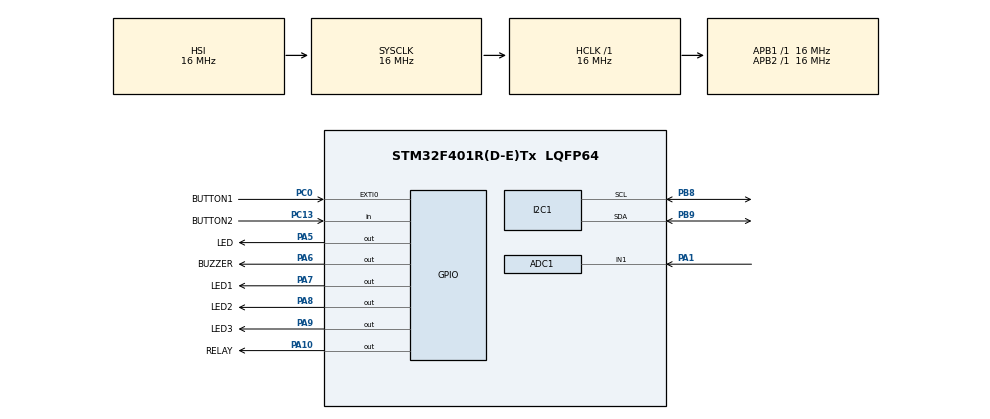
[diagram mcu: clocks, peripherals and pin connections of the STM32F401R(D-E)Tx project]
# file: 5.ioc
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ADC1.Channel-2\#ChannelRegularConversion=ADC_CHANNEL_1
ADC1.NbrOfConversionFlag=1
ADC1.Rank-2\#ChannelRegularConversion=1
ADC1.SamplingTime-2\#ChannelRegularConversion=ADC_SAMPLETIME_3CYCLES
ADC1.master=1
Mcu.Family=STM32F4
Mcu.Name=STM32F401R(D-E)Tx
Mcu.Package=LQFP64
NVIC.ADC_IRQn=true\:0\:0\:false\:false\:true\:true\:true
NVIC.EXTI0_IRQn=true\:1\:0\:true\:false\:true\:true\:true
NVIC.PriorityGroup=NVIC_PRIORITYGROUP_4
PA1.Signal=ADCx_IN1
PA10.GPIO_Label=RELAY
PA10.Signal=GPIO_Output
PA13.Mode=Serial_Wire
PA13.Signal=SYS_JTMS-SWDIO
PA14.Mode=Serial_Wire
PA14.Signal=SYS_JTCK-SWCLK
PA5.GPIO_Label=LED
PA5.Signal=GPIO_Output
PA6.GPIO_Label=BUZZER
PA6.Signal=GPIO_Output
PA7.GPIO_Label=LED1
PA7.Signal=GPIO_Output
PA8.GPIO_Label=LED2
PA8.Signal=GPIO_Output
PA9.GPIO_Label=LED3
PA9.Signal=GPIO_Output
PB8.Mode=I2C
PB8.Signal=I2C1_SCL
PB9.Mode=I2C
PB9.Signal=I2C1_SDA
PC0.GPIO_Label=BUTTON1
PC0.GPIO_PuPd=GPIO_PULLUP
PC0.Signal=GPXTI0
PC13-ANTI_TAMP.GPIO_Label=BUTTON2
PC13-ANTI_TAMP.Signal=GPIO_Input
PH0\ -\ OSC_IN.Mode=HSE-External-Oscillator
PH0\ -\ OSC_IN.Signal=RCC_OSC_IN
PH1\ -\ OSC_OUT.Mode=HSE-External-Oscillator
PH1\ -\ OSC_OUT.Signal=RCC_OSC_OUT
ProjectManager.HeapSize=0x200
ProjectManager.StackSize=0x400
ProjectManager.TargetToolchain=STM32CubeIDE
RCC.AHBFreq_Value=16000000
RCC.APB1Freq_Value=16000000
RCC.APB2Freq_Value=16000000
RCC.CortexFreq_Value=16000000
RCC.HSE_VALUE=25000000
RCC.HSI_VALUE=16000000
RCC.LSE_VALUE=32768
RCC.SYSCLKFreq_VALUE=16000000
RCC.VCOOutputFreq_Value=192000000
SH.ADCx_IN1.0=ADC1_IN1,IN1
board=custom

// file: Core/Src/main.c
/* USER CODE BEGIN Header */
/**
  ******************************************************************************
  *
  * @file           : main.c
  * @brief          : Main program body
  *
  ******************************************************************************
  *
  * PROJECT: HE THONG CANH BAO SU DUNG STM32 F401RE
  * Chu tri du an: TRAN NGUYEN PHUC
  * Thuc hien: TRAN NGUYEN PHUC - VO THỊ HONG ANH - PHAM DANG KIEU OANH
  *
  ******************************************************************************
  */
/* USER CODE END Header */
#include "main.h"
/* USER CODE BEGIN Includes */
#include "stdio.h"
#include "string.h"
#include "math.h"
#include "stdbool.h"

#include "i2c-lcd.h"
/* USER CODE END Includes */

ADC_HandleTypeDef hadc1;

I2C_HandleTypeDef hi2c1;

/* USER CODE BEGIN PV */
//uint16_t data[3];
uint32_t temp = 0;
uint32_t temp_val = 0;
uint32_t button1_val;
uint8_t status;
char tempVal[20];
/* USER CODE END PV */

void SystemClock_Config(void);
static void MX_GPIO_Init(void);
static void MX_ADC1_Init(void);
static void MX_I2C1_Init(void);

/* USER CODE BEGIN 0 */
uint32_t MAP(uint32_t au32_IN, uint32_t au32_INmin, uint32_t au32_INmax, uint32_t au32_OUTmin, uint32_t au32_OUTmax)
{
	return((((au32_IN - au32_INmin)*au32_OUTmax - au32_OUTmin)/(au32_INmax - au32_INmin)) + au32_OUTmin);
}

//void ADC_Select_CH0 (void)
//{
//	ADC_ChannelConfTypeDef sConfig = {0};
//	  /** Configure for the selected ADC regular channel its corresponding rank in the sequencer and its sample time.
//	  */
//	  sConfig.Channel = ADC_CHANNEL_0;
//	  sConfig.Rank = 1;
//	  sConfig.SamplingTime = ADC_SAMPLETIME_144CYCLES;
//	  if (HAL_ADC_ConfigChannel(&hadc1, &sConfig) != HAL_OK)
//	  {
//	    Error_Handler();
//	  }
//}

void conguoi ()
{
	HAL_GPIO_WritePin(LED2_GPIO_Port, LED2_Pin, 1);
	HAL_GPIO_WritePin(BUZZER_GPIO_Port, BUZZER_Pin, 1);
	HAL_Delay(500);
  	HAL_GPIO_WritePin(LED2_GPIO_Port, LED2_Pin, 0);
  	HAL_GPIO_WritePin(BUZZER_GPIO_Port, BUZZER_Pin, 0);
  	HAL_Delay(500);
	HAL_GPIO_WritePin(LED2_GPIO_Port, LED2_Pin, 1);
	HAL_GPIO_WritePin(BUZZER_GPIO_Port, BUZZER_Pin, 1);
	HAL_Delay(500);
  	HAL_GPIO_WritePin(LED2_GPIO_Port, LED2_Pin, 0);
  	HAL_GPIO_WritePin(BUZZER_GPIO_Port, BUZZER_Pin, 0);
	HAL_Delay(500);
	HAL_GPIO_WritePin(LED2_GPIO_Port, LED2_Pin, 1);
	HAL_GPIO_WritePin(BUZZER_GPIO_Port, BUZZER_Pin, 1);
	HAL_Delay(500);
  	HAL_GPIO_WritePin(LED2_GPIO_Port, LED2_Pin, 0);
  	HAL_GPIO_WritePin(BUZZER_GPIO_Port, BUZZER_Pin, 0);
	HAL_Delay(500);
	HAL_GPIO_WritePin(LED2_GPIO_Port, LED2_Pin, 1);
	HAL_GPIO_WritePin(BUZZER_GPIO_Port, BUZZER_Pin, 1);
	HAL_Delay(500);
  	HAL_GPIO_WritePin(LED2_GPIO_Port, LED2_Pin, 0);
  	HAL_GPIO_WritePin(BUZZER_GPIO_Port, BUZZER_Pin, 0);
	HAL_Delay(500);
}
/* USER CODE END 0 */

int main(void)
{

  /* MCU Configuration--------------------------------------------------------*/

  /* Reset of all peripherals, Initializes the Flash interface and the Systick. */
  HAL_Init();

  /* Configure the system clock */
  SystemClock_Config();

  /* Initialize all configured peripherals */
  MX_GPIO_Init();
  MX_ADC1_Init();
  MX_I2C1_Init();
  /* USER CODE BEGIN 2 */
  lcd_init();

  lcd_goto_XY(1,2);
  lcd_send_string("DO AN NHOM 2");
  lcd_goto_XY(2,1);
  lcd_send_string("THUC TAP CO SO");
  HAL_Delay(3000);
  lcd_clear_display();

  /* USER CODE END 2 */

  /* Infinite loop */
  while (1)
  {

    /* USER CODE BEGIN 3 */
	  /* -------------------- ADC LM35 --------------------*/
	  HAL_ADC_Start(&hadc1);
	  HAL_ADC_PollForConversion(&hadc1,500);
	  temp = HAL_ADC_GetValue(&hadc1);
	  temp_val = (temp*330)/4095;
	  HAL_ADC_Stop(&hadc1);
	  HAL_Delay(100);
	  sprintf(tempVal, " TEMP: %02ld%cC ", temp_val, 0xdf);
	  lcd_goto_XY(1,2);
	  lcd_send_string(tempVal);
	  HAL_Delay(500);
	  if(temp_val >= 70)
	  {
	  	lcd_goto_XY(2,0);
	  	lcd_send_string("  NHIET DO CAO  ");
	  	HAL_GPIO_WritePin(LED1_GPIO_Port,LED1_Pin, 1);
	  	HAL_GPIO_WritePin(BUZZER_GPIO_Port,BUZZER_Pin, 1);
		HAL_Delay(500);
	  	HAL_GPIO_WritePin(LED1_GPIO_Port,LED1_Pin, 0);
	  	HAL_GPIO_WritePin(BUZZER_GPIO_Port,BUZZER_Pin, 0);
	  }
	  else
	  {
		lcd_goto_XY(2,0);
		lcd_send_string("                ");
	  	HAL_GPIO_WritePin(LED1_GPIO_Port,LED1_Pin,GPIO_PIN_RESET);
	  	HAL_GPIO_WritePin(BUZZER_GPIO_Port,BUZZER_Pin,GPIO_PIN_RESET);
	  }
	  /* -------------------- Nut bam 1 --------------------*/
	  button1_val = HAL_GPIO_ReadPin(BUTTON1_GPIO_Port, BUTTON1_Pin);
	  if(button1_val == 0)
	  {
		lcd_goto_XY(2,0);
		lcd_send_string("    CO NGUOI    ");
		conguoi();
	  }
	  else
	  {
	  	HAL_GPIO_WritePin(LED2_GPIO_Port, LED2_Pin, RESET);
	  	HAL_GPIO_WritePin(BUZZER_GPIO_Port, BUZZER_Pin, RESET);
	  }
	  /* -------------------- Nut bam 2 --------------------*/
	  if(HAL_GPIO_ReadPin(BUTTON2_GPIO_Port, BUTTON2_Pin) == 0)
	  {
		  while(HAL_GPIO_ReadPin(BUTTON2_GPIO_Port, BUTTON2_Pin) == 0) {}
		  status =~ status;
		  HAL_GPIO_WritePin(RELAY_GPIO_Port, RELAY_Pin, status);
		  HAL_GPIO_WritePin(LED3_GPIO_Port, LED3_Pin, status);
	  }
	  /* -------------------- Ket Thuc --------------------*/
  }
  /* USER CODE END 3 */
}

void SystemClock_Config(void)
{
  RCC_OscInitTypeDef RCC_OscInitStruct = {0};
  RCC_ClkInitTypeDef RCC_ClkInitStruct = {0};

  /** Configure the main internal regulator output voltage
  */
  __HAL_RCC_PWR_CLK_ENABLE();
  __HAL_PWR_VOLTAGESCALING_CONFIG(PWR_REGULATOR_VOLTAGE_SCALE2);
  /** Initializes the RCC Oscillators according to the specified parameters
  * in the RCC_OscInitTypeDef structure.
  */
  RCC_OscInitStruct.OscillatorType = RCC_OSCILLATORTYPE_HSI;
  RCC_OscInitStruct.HSIState = RCC_HSI_ON;
  RCC_OscInitStruct.HSICalibrationValue = RCC_HSICALIBRATION_DEFAULT;
  RCC_OscInitStruct.PLL.PLLState = RCC_PLL_NONE;
  if (HAL_RCC_OscConfig(&RCC_OscInitStruct) != HAL_OK)
  {
    Error_Handler();
  }
  /** Initializes the CPU, AHB and APB buses clocks
  */
  RCC_ClkInitStruct.ClockType = RCC_CLOCKTYPE_HCLK|RCC_CLOCKTYPE_SYSCLK
                              |RCC_CLOCKTYPE_PCLK1|RCC_CLOCKTYPE_PCLK2;
  RCC_ClkInitStruct.SYSCLKSource = RCC_SYSCLKSOURCE_HSI;
  RCC_ClkInitStruct.AHBCLKDivider = RCC_SYSCLK_DIV1;
  RCC_ClkInitStruct.APB1CLKDivider = RCC_HCLK_DIV1;
  RCC_ClkInitStruct.APB2CLKDivider = RCC_HCLK_DIV1;

  if (HAL_RCC_ClockConfig(&RCC_ClkInitStruct, FLASH_LATENCY_0) != HAL_OK)
  {
    Error_Handler();
  }
}

static void MX_ADC1_Init(void)
{

  ADC_ChannelConfTypeDef sConfig = {0};

  /** Configure the global features of the ADC (Clock, Resolution, Data Alignment and number of conversion)
  */
  hadc1.Instance = ADC1;
  hadc1.Init.ClockPrescaler = ADC_CLOCK_SYNC_PCLK_DIV2;
  hadc1.Init.Resolution = ADC_RESOLUTION_12B;
  hadc1.Init.ScanConvMode = DISABLE;
  hadc1.Init.ContinuousConvMode = DISABLE;
  hadc1.Init.DiscontinuousConvMode = DISABLE;
  hadc1.Init.ExternalTrigConvEdge = ADC_EXTERNALTRIGCONVEDGE_NONE;
  hadc1.Init.ExternalTrigConv = ADC_SOFTWARE_START;
  hadc1.Init.DataAlign = ADC_DATAALIGN_RIGHT;
  hadc1.Init.NbrOfConversion = 1;
  hadc1.Init.DMAContinuousRequests = DISABLE;
  hadc1.Init.EOCSelection = ADC_EOC_SINGLE_CONV;
  if (HAL_ADC_Init(&hadc1) != HAL_OK)
  {
    Error_Handler();
  }
  /** Configure for the selected ADC regular channel its corresponding rank in the sequencer and its sample time.
  */
  sConfig.Channel = ADC_CHANNEL_1;
  sConfig.Rank = 1;
  sConfig.SamplingTime = ADC_SAMPLETIME_3CYCLES;
  if (HAL_ADC_ConfigChannel(&hadc1, &sConfig) != HAL_OK)
  {
    Error_Handler();
  }

}

static void MX_I2C1_Init(void)
{

  hi2c1.Instance = I2C1;
  hi2c1.Init.ClockSpeed = 100000;
  hi2c1.Init.DutyCycle = I2C_DUTYCYCLE_2;
  hi2c1.Init.OwnAddress1 = 0;
  hi2c1.Init.AddressingMode = I2C_ADDRESSINGMODE_7BIT;
  hi2c1.Init.DualAddressMode = I2C_DUALADDRESS_DISABLE;
  hi2c1.Init.OwnAddress2 = 0;
  hi2c1.Init.GeneralCallMode = I2C_GENERALCALL_DISABLE;
  hi2c1.Init.NoStretchMode = I2C_NOSTRETCH_DISABLE;
  if (HAL_I2C_Init(&hi2c1) != HAL_OK)
  {
    Error_Handler();
  }

}

static void MX_GPIO_Init(void)
{
  GPIO_InitTypeDef GPIO_InitStruct = {0};

  /* GPIO Ports Clock Enable */
  __HAL_RCC_GPIOC_CLK_ENABLE();
  __HAL_RCC_GPIOH_CLK_ENABLE();
  __HAL_RCC_GPIOA_CLK_ENABLE();
  __HAL_RCC_GPIOB_CLK_ENABLE();

  /*Configure GPIO pin Output Level */
  HAL_GPIO_WritePin(GPIOA, LED_Pin|BUZZER_Pin|LED1_Pin|LED2_Pin
                          |LED3_Pin|RELAY_Pin, GPIO_PIN_RESET);

  /*Configure GPIO pin : BUTTON2_Pin */
  GPIO_InitStruct.Pin = BUTTON2_Pin;
  GPIO_InitStruct.Mode = GPIO_MODE_INPUT;
  GPIO_InitStruct.Pull = GPIO_NOPULL;
  HAL_GPIO_Init(BUTTON2_GPIO_Port, &GPIO_InitStruct);

  /*Configure GPIO pin : BUTTON1_Pin */
  GPIO_InitStruct.Pin = BUTTON1_Pin;
  GPIO_InitStruct.Mode = GPIO_MODE_IT_RISING;
  GPIO_InitStruct.Pull = GPIO_PULLUP;
  HAL_GPIO_Init(BUTTON1_GPIO_Port, &GPIO_InitStruct);

  /*Configure GPIO pins : LED_Pin BUZZER_Pin LED1_Pin LED2_Pin
                           LED3_Pin RELAY_Pin */
  GPIO_InitStruct.Pin = LED_Pin|BUZZER_Pin|LED1_Pin|LED2_Pin
                          |LED3_Pin|RELAY_Pin;
  GPIO_InitStruct.Mode = GPIO_MODE_OUTPUT_PP;
  GPIO_InitStruct.Pull = GPIO_NOPULL;
  GPIO_InitStruct.Speed = GPIO_SPEED_FREQ_LOW;
  HAL_GPIO_Init(GPIOA, &GPIO_InitStruct);

  /* EXTI interrupt init*/
  HAL_NVIC_SetPriority(EXTI0_IRQn, 1, 0);
  HAL_NVIC_EnableIRQ(EXTI0_IRQn);

}

void Error_Handler(void)
{
  __disable_irq();
  while (1)
  {
  }
}

/************************ (C) COPYRIGHT STMicroelectronics *****END OF FILE****/
